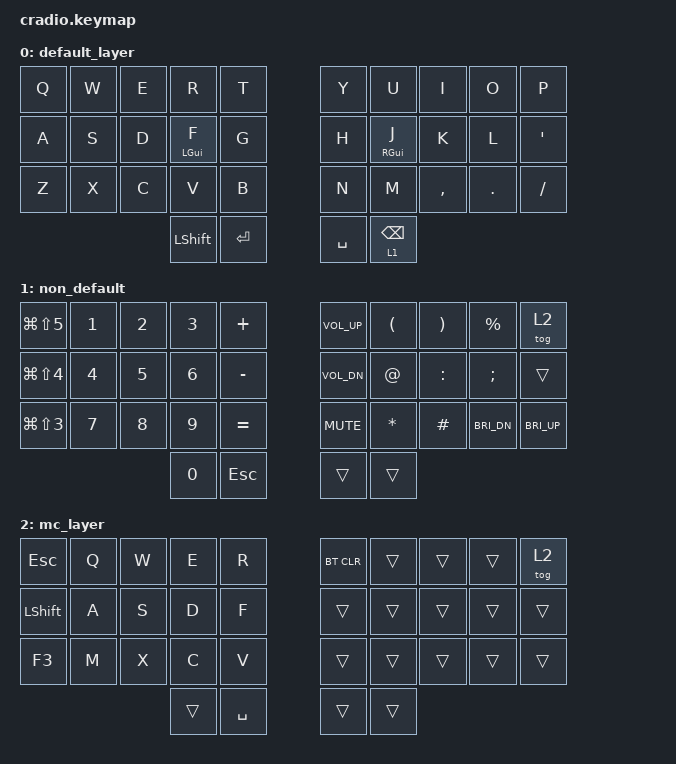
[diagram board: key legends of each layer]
#include <behaviors.dtsi>
#include <dt-bindings/zmk/keys.h>
#include <dt-bindings/zmk/bt.h>

/ {
    behaviors {
        ht: hold_tap {
            compatible = "zmk,behavior-hold-tap";
            #binding-cells = <2>;
            flavor = "tap-preferred";
            tapping-term-ms = <220>;
            quick-tap-ms = <150>;
            require-prior-idle-ms = <100>;
            bindings = <&kp>, <&kp>;
        };
    };
    keymap {
        compatible = "zmk,keymap";
        default_layer {
            bindings = <
        //╭──────────┬──────────┬──────────┬──────────┬──────────╮   ╭──────────┬──────────┬──────────┬──────────┬──────────╮
            &kp Q      &kp W      &kp E      &kp R      &kp T          &kp Y      &kp U      &kp I      &kp O      &kp P
        //├──────────┼──────────┼──────────┼──────────┼──────────┤   ├──────────┼──────────┼──────────┼──────────┼──────────┤
            &kp A      &kp S       &kp D    &ht LGUI F  &kp G          &kp H     &ht RGUI J  &kp K      &kp L      &kp SQT
        //├──────────┼──────────┼──────────┼──────────┼──────────┤   ├──────────┼──────────┼──────────┼──────────┼──────────┤
            &kp Z      &kp X      &kp C      &kp V      &kp B          &kp N      &kp M      &kp COMMA  &kp DOT    &kp FSLH
        //╰──────────┴──────────┴──────────┼──────────┼──────────┤   ├──────────┼──────────┼──────────┴──────────┴──────────╯
                                            &kp LSHIFT  &kp ENTER     &kp SPACE  &lt 1 BSPC
        //                                 ╰──────────┴──────────╯   ╰──────────┴──────────╯
            >;
        };
        non_default {
            bindings = <
        //╭──────────┬──────────┬──────────┬──────────┬──────────╮   ╭──────────┬──────────┬──────────┬──────────┬──────────╮
        &kp LG(LS(N5)) &kp N1     &kp N2     &kp N3     &kp PLUS     &kp C_VOL_UP &kp LPAR   &kp RPAR   &kp PRCNT  &tog 2
        //├──────────┼──────────┼──────────┼──────────┼──────────┤   ├──────────┼──────────┼──────────┼──────────┼──────────┤
        &kp LG(LS(N4)) &kp N4     &kp N5     &kp N6     &kp MINUS    &kp C_VOL_DN &kp AT     &kp COLON  &kp SEMI   &trans
        //├──────────┼──────────┼──────────┼──────────┼──────────┤   ├──────────┼──────────┼──────────┼──────────┼──────────┤
        &kp LG(LS(N3)) &kp N7     &kp N8     &kp N9     &kp EQUAL     &kp C_MUTE  &kp STAR   &kp HASH &kp C_BRI_DN &kp C_BRI_UP
        //╰──────────┴──────────┴──────────┼──────────┼──────────┤   ├──────────┼──────────┼──────────┴──────────┴──────────╯
                                             &kp N0     &kp ESC        &trans     &trans
        //                                 ╰──────────┴──────────╯   ╰──────────┴──────────╯
            >;
        };
	mc_layer {
            bindings = <
        //╭──────────┬──────────┬──────────┬──────────┬──────────╮   ╭──────────┬──────────┬──────────┬──────────┬──────────╮
            &kp ESC    &kp Q      &kp W      &kp E      &kp R          &bt BT_CLR &trans     &trans     &trans     &tog 2
        //├──────────┼──────────┼──────────┼──────────┼──────────┤   ├──────────┼──────────┼──────────┼──────────┼──────────┤
            &kp LSHFT  &kp A      &kp S      &kp D      &kp F          &trans     &trans     &trans     &trans     &trans
        //├──────────┼──────────┼──────────┼──────────┼──────────┤   ├──────────┼──────────┼──────────┼──────────┼──────────┤
            &kp F3     &kp M      &kp X      &kp C      &kp V          &trans     &trans     &trans     &trans     &trans
        //╰──────────┴──────────┴──────────┼──────────┼──────────┤   ├──────────┼──────────┼──────────┴──────────┴──────────╯
                                            &trans      &kp SPACE      &trans     &trans
        //                                 ╰──────────┴──────────╯   ╰──────────┴──────────╯
            >;
	};
    };
};
